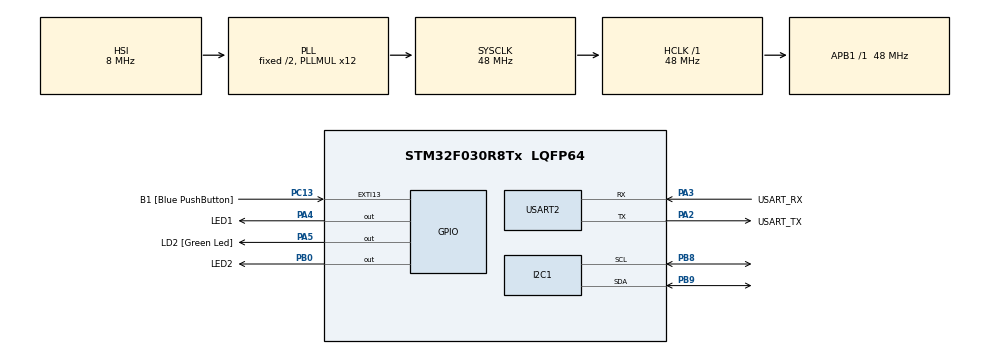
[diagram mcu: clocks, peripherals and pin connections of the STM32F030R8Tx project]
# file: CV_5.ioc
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Dma.Request0=USART2_RX
Dma.USART2_RX.0.Direction=DMA_PERIPH_TO_MEMORY
Dma.USART2_RX.0.Instance=DMA1_Channel5
Dma.USART2_RX.0.MemDataAlignment=DMA_MDATAALIGN_BYTE
Dma.USART2_RX.0.MemInc=DMA_MINC_ENABLE
Dma.USART2_RX.0.Mode=DMA_CIRCULAR
Dma.USART2_RX.0.PeriphDataAlignment=DMA_PDATAALIGN_BYTE
Dma.USART2_RX.0.PeriphInc=DMA_PINC_DISABLE
Dma.USART2_RX.0.Priority=DMA_PRIORITY_LOW
Mcu.Family=STM32F0
Mcu.Name=STM32F030R8Tx
Mcu.Package=LQFP64
NVIC.DMA1_Channel4_5_IRQn=true\:0\:0\:false\:false\:true\:false\:true
PA13.GPIO_Label=TMS
PA13.Mode=Serial_Wire
PA13.Signal=SYS_SWDIO
PA14.GPIO_Label=TCK
PA14.Mode=Serial_Wire
PA14.Signal=SYS_SWCLK
PA2.GPIO_Label=USART_TX
PA2.GPIO_Mode=GPIO_MODE_AF_PP
PA2.GPIO_PuPd=GPIO_NOPULL
PA2.GPIO_Speed=GPIO_SPEED_FREQ_LOW
PA2.Mode=Asynchronous
PA2.Signal=USART2_TX
PA3.GPIO_Label=USART_RX
PA3.GPIO_Mode=GPIO_MODE_AF_PP
PA3.GPIO_PuPd=GPIO_NOPULL
PA3.GPIO_Speed=GPIO_SPEED_FREQ_LOW
PA3.Mode=Asynchronous
PA3.Signal=USART2_RX
PA4.GPIO_Label=LED1
PA4.Signal=GPIO_Output
PA5.GPIO_Label=LD2 [Green Led]
PA5.GPIO_Mode=GPIO_MODE_OUTPUT_PP
PA5.GPIO_PuPd=GPIO_NOPULL
PA5.GPIO_Speed=GPIO_SPEED_FREQ_LOW
PA5.Signal=GPIO_Output
PB0.GPIO_Label=LED2
PB0.Signal=GPIO_Output
PB8.Mode=I2C
PB8.Signal=I2C1_SCL
PB9.Mode=I2C
PB9.Signal=I2C1_SDA
PC13.GPIO_Label=B1 [Blue PushButton]
PC13.GPIO_ModeDefaultEXTI=GPIO_MODE_IT_FALLING
PC13.Signal=GPXTI13
PC14-OSC32_IN.Mode=LSE-External-Oscillator
PC14-OSC32_IN.Signal=RCC_OSC32_IN
PC15-OSC32_OUT.Mode=LSE-External-Oscillator
PC15-OSC32_OUT.Signal=RCC_OSC32_OUT
PF0-OSC_IN.Mode=HSE-External-Clock-Source
PF0-OSC_IN.Signal=RCC_OSC_IN
PF1-OSC_OUT.Signal=RCC_OSC_OUT
ProjectManager.HeapSize=0x200
ProjectManager.StackSize=0x400
ProjectManager.TargetToolchain=STM32CubeIDE
RCC.AHBFreq_Value=48000000
RCC.APB1Freq_Value=48000000
RCC.APB1TimFreq_Value=48000000
RCC.HCLKFreq_Value=48000000
RCC.PLLMUL=RCC_PLL_MUL12
RCC.SYSCLKFreq_VALUE=48000000
RCC.SYSCLKSource=RCC_SYSCLKSOURCE_PLLCLK
USART2.VirtualMode-Asynchronous=VM_ASYNC
board=NUCLEO-F030R8

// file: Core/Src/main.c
/* USER CODE BEGIN Header */
/**
 ******************************************************************************
 * @file           : main.c
 * @brief          : Main program body
 ******************************************************************************
 * @attention
 *
 * <h2><center>&copy; Copyright (c) 2021 STMicroelectronics.
 * All rights reserved.</center></h2>
 *
 * This software component is licensed by ST under BSD 3-Clause license,
 * the "License"; You may not use this file except in compliance with the
 * License. You may obtain a copy of the License at:
 *                        opensource.org/licenses/BSD-3-Clause
 *
 ******************************************************************************
 */
/* USER CODE END Header */
#include "main.h"

/* USER CODE BEGIN Includes */
#include <stdio.h>
#include <string.h>
#include <stdlib.h>
/* USER CODE END Includes */

/* USER CODE BEGIN PTD */
#define RX_BUFFER_LEN 64
#define uart_rx_write_ptr (RX_BUFFER_LEN - hdma_usart2_rx.Instance->CNDTR)
#define CMD_BUFFER_LEN 256
#define EEPROM_ADDR 0xA0
static uint8_t uart_rx_buf[RX_BUFFER_LEN];
static volatile uint16_t uart_rx_read_ptr = 0;
int atoi(const char *str);

/* USER CODE END PTD */

I2C_HandleTypeDef hi2c1;

UART_HandleTypeDef huart2;
DMA_HandleTypeDef hdma_usart2_rx;

void SystemClock_Config(void);
static void MX_GPIO_Init(void);
static void MX_DMA_Init(void);
static void MX_USART2_UART_Init(void);
static void MX_I2C1_Init(void);

/* USER CODE BEGIN 0 */

int _write(int file, char const *buf, int n)
{
 /* stdout redirection to UART2 */
 HAL_UART_Transmit(&huart2, (uint8_t*)(buf), n, HAL_MAX_DELAY);
 return n;
}

static void uart_process_command(char *cmd)
{
	//printf("prijato: '%s'\n", cmd);

	char *token;
	token = strtok(cmd, " ");
	uint8_t value;
	uint16_t addr;

	if (strcasecmp(token, "HELLO") == 0) {
		printf("Komunikace OK\n");
	}
	else if (strcasecmp(token, "LED1") == 0) {
		token = strtok(NULL, " ");
		if (strcasecmp(token, "ON") == 0)
		{
			HAL_GPIO_WritePin(GPIOA,GPIO_PIN_4,GPIO_PIN_SET);
			printf("test_led1\n");
		}

		else if (strcasecmp(token, "OFF")==0)
		{
			HAL_GPIO_WritePin(GPIOA,GPIO_PIN_4,GPIO_PIN_RESET);
		}
		printf("OK\n");
	}
	else if (strcasecmp(token, "LED2") == 0) {
		token = strtok(NULL, " ");
		if (strcasecmp(token, "ON") == 0)
		{
			HAL_GPIO_WritePin(GPIOB,GPIO_PIN_0,GPIO_PIN_SET);
			printf("test_led2\n");
		}
		else if (strcasecmp(token, "OFF")==0)
		{
			HAL_GPIO_WritePin(GPIOB,GPIO_PIN_0,GPIO_PIN_RESET);
		}
		printf("OK\n");
	}
	else if (strcasecmp(token, "status") == 0)
	{
		uint8_t status_1 = 0;
		uint8_t status_2 = 0;

		status_1 = HAL_GPIO_ReadPin(GPIOA, GPIO_PIN_4);
		status_2 = HAL_GPIO_ReadPin(GPIOB, GPIO_PIN_0);

		printf("LED1: %i, LED2: %i \n", status_1, status_2);

	}

	else if (strcasecmp(token, "READ") == 0)
	{
		token = strtok(NULL, " ");
		addr=atoi(token);
		//printf(token);

		HAL_I2C_Mem_Read(&hi2c1, EEPROM_ADDR, addr, I2C_MEMADD_SIZE_16BIT, &value, 1, 1000);
		printf("adresa: 0x%02x = 0x%02x\n", addr, value);

	}

	else if (strcasecmp(token, "WRITE") == 0)
	{
		token = strtok(NULL, " ");
		addr=atoi(token);

		token = strtok(NULL, " ");
		value=atoi(token);

		HAL_I2C_Mem_Write(&hi2c1, EEPROM_ADDR, addr, I2C_MEMADD_SIZE_16BIT, &value, 1, 1000);
		while (HAL_I2C_IsDeviceReady(&hi2c1, EEPROM_ADDR, 300, 1000) == HAL_TIMEOUT) {}
		printf("adresa: 0x%02x = 0x%02x\n", addr, value);

	}

	else if (strcasecmp(token, "DUMP") == 0)
	{
		uint8_t value_16[16];
		addr  = 0;
		HAL_I2C_Mem_Read(&hi2c1, EEPROM_ADDR, addr, I2C_MEMADD_SIZE_16BIT, value_16, 16, 1000);
		for(uint16_t i = 0;i<16;i++)
		{
			printf("%02x ", value_16[i]);
		}
		printf("\n");
	}

}

static void uart_byte_available(uint8_t c)
{
	static uint16_t cnt;
	static char data[CMD_BUFFER_LEN];
	if (cnt < CMD_BUFFER_LEN && c >= 32 && c <= 126) data[cnt++] = c;
	if ((c == '\n' || c == '\r') && cnt > 0)
	{
		data[cnt] = '\0';
		uart_process_command(data);
		cnt = 0;
	}
}

/* USER CODE END 0 */

int main(void)
{
  /* USER CODE BEGIN 1 */
	//uint8_t c;

  /* USER CODE END 1 */

  /* MCU Configuration--------------------------------------------------------*/

  /* Reset of all peripherals, Initializes the Flash interface and the Systick. */
  HAL_Init();

  /* Configure the system clock */
  SystemClock_Config();

  /* Initialize all configured peripherals */
  MX_GPIO_Init();
  MX_DMA_Init();
  MX_USART2_UART_Init();
  MX_I2C1_Init();
  /* USER CODE BEGIN 2 */
	HAL_UART_Receive_DMA(&huart2, uart_rx_buf, RX_BUFFER_LEN);
  /* USER CODE END 2 */

  /* Infinite loop */
  /* USER CODE BEGIN WHILE */
	while (1)
	{
		//HAL_UART_Receive(&huart2, &c, 1, HAL_MAX_DELAY);
		//HAL_UART_Transmit(&huart2, &c, 1, HAL_MAX_DELAY);

		while (uart_rx_read_ptr != uart_rx_write_ptr)
		{
			uint8_t b = uart_rx_buf[uart_rx_read_ptr];
			if (++uart_rx_read_ptr >= RX_BUFFER_LEN) uart_rx_read_ptr = 0; // increase read pointer
			uart_byte_available(b); // process every received byte with the RX state machine
		}

    /* USER CODE END WHILE */

	}
}

void SystemClock_Config(void)
{
  RCC_OscInitTypeDef RCC_OscInitStruct = {0};
  RCC_ClkInitTypeDef RCC_ClkInitStruct = {0};
  RCC_PeriphCLKInitTypeDef PeriphClkInit = {0};

  /** Initializes the RCC Oscillators according to the specified parameters
  * in the RCC_OscInitTypeDef structure.
  */
  RCC_OscInitStruct.OscillatorType = RCC_OSCILLATORTYPE_HSI;
  RCC_OscInitStruct.HSIState = RCC_HSI_ON;
  RCC_OscInitStruct.HSICalibrationValue = RCC_HSICALIBRATION_DEFAULT;
  RCC_OscInitStruct.PLL.PLLState = RCC_PLL_ON;
  RCC_OscInitStruct.PLL.PLLSource = RCC_PLLSOURCE_HSI;
  RCC_OscInitStruct.PLL.PLLMUL = RCC_PLL_MUL12;
  RCC_OscInitStruct.PLL.PREDIV = RCC_PREDIV_DIV1;
  if (HAL_RCC_OscConfig(&RCC_OscInitStruct) != HAL_OK)
  {
    Error_Handler();
  }
  /** Initializes the CPU, AHB and APB buses clocks
  */
  RCC_ClkInitStruct.ClockType = RCC_CLOCKTYPE_HCLK|RCC_CLOCKTYPE_SYSCLK
                              |RCC_CLOCKTYPE_PCLK1;
  RCC_ClkInitStruct.SYSCLKSource = RCC_SYSCLKSOURCE_PLLCLK;
  RCC_ClkInitStruct.AHBCLKDivider = RCC_SYSCLK_DIV1;
  RCC_ClkInitStruct.APB1CLKDivider = RCC_HCLK_DIV1;

  if (HAL_RCC_ClockConfig(&RCC_ClkInitStruct, FLASH_LATENCY_1) != HAL_OK)
  {
    Error_Handler();
  }
  PeriphClkInit.PeriphClockSelection = RCC_PERIPHCLK_I2C1;
  PeriphClkInit.I2c1ClockSelection = RCC_I2C1CLKSOURCE_HSI;
  if (HAL_RCCEx_PeriphCLKConfig(&PeriphClkInit) != HAL_OK)
  {
    Error_Handler();
  }
}

static void MX_I2C1_Init(void)
{

  hi2c1.Instance = I2C1;
  hi2c1.Init.Timing = 0x2000090E;
  hi2c1.Init.OwnAddress1 = 0;
  hi2c1.Init.AddressingMode = I2C_ADDRESSINGMODE_7BIT;
  hi2c1.Init.DualAddressMode = I2C_DUALADDRESS_DISABLE;
  hi2c1.Init.OwnAddress2 = 0;
  hi2c1.Init.OwnAddress2Masks = I2C_OA2_NOMASK;
  hi2c1.Init.GeneralCallMode = I2C_GENERALCALL_DISABLE;
  hi2c1.Init.NoStretchMode = I2C_NOSTRETCH_DISABLE;
  if (HAL_I2C_Init(&hi2c1) != HAL_OK)
  {
    Error_Handler();
  }
  /** Configure Analogue filter
  */
  if (HAL_I2CEx_ConfigAnalogFilter(&hi2c1, I2C_ANALOGFILTER_ENABLE) != HAL_OK)
  {
    Error_Handler();
  }
  /** Configure Digital filter
  */
  if (HAL_I2CEx_ConfigDigitalFilter(&hi2c1, 0) != HAL_OK)
  {
    Error_Handler();
  }

}

static void MX_USART2_UART_Init(void)
{

  huart2.Instance = USART2;
  huart2.Init.BaudRate = 38400;
  huart2.Init.WordLength = UART_WORDLENGTH_8B;
  huart2.Init.StopBits = UART_STOPBITS_1;
  huart2.Init.Parity = UART_PARITY_NONE;
  huart2.Init.Mode = UART_MODE_TX_RX;
  huart2.Init.HwFlowCtl = UART_HWCONTROL_NONE;
  huart2.Init.OverSampling = UART_OVERSAMPLING_16;
  huart2.Init.OneBitSampling = UART_ONE_BIT_SAMPLE_DISABLE;
  huart2.AdvancedInit.AdvFeatureInit = UART_ADVFEATURE_NO_INIT;
  if (HAL_UART_Init(&huart2) != HAL_OK)
  {
    Error_Handler();
  }

}

static void MX_DMA_Init(void)
{

  /* DMA controller clock enable */
  __HAL_RCC_DMA1_CLK_ENABLE();

  /* DMA interrupt init */
  /* DMA1_Channel4_5_IRQn interrupt configuration */
  HAL_NVIC_SetPriority(DMA1_Channel4_5_IRQn, 0, 0);
  HAL_NVIC_EnableIRQ(DMA1_Channel4_5_IRQn);

}

static void MX_GPIO_Init(void)
{
  GPIO_InitTypeDef GPIO_InitStruct = {0};

  /* GPIO Ports Clock Enable */
  __HAL_RCC_GPIOC_CLK_ENABLE();
  __HAL_RCC_GPIOF_CLK_ENABLE();
  __HAL_RCC_GPIOA_CLK_ENABLE();
  __HAL_RCC_GPIOB_CLK_ENABLE();

  /*Configure GPIO pin Output Level */
  HAL_GPIO_WritePin(GPIOA, LED1_Pin|LD2_Pin, GPIO_PIN_RESET);

  /*Configure GPIO pin Output Level */
  HAL_GPIO_WritePin(LED2_GPIO_Port, LED2_Pin, GPIO_PIN_RESET);

  /*Configure GPIO pin : B1_Pin */
  GPIO_InitStruct.Pin = B1_Pin;
  GPIO_InitStruct.Mode = GPIO_MODE_IT_FALLING;
  GPIO_InitStruct.Pull = GPIO_NOPULL;
  HAL_GPIO_Init(B1_GPIO_Port, &GPIO_InitStruct);

  /*Configure GPIO pins : LED1_Pin LD2_Pin */
  GPIO_InitStruct.Pin = LED1_Pin|LD2_Pin;
  GPIO_InitStruct.Mode = GPIO_MODE_OUTPUT_PP;
  GPIO_InitStruct.Pull = GPIO_NOPULL;
  GPIO_InitStruct.Speed = GPIO_SPEED_FREQ_LOW;
  HAL_GPIO_Init(GPIOA, &GPIO_InitStruct);

  /*Configure GPIO pin : LED2_Pin */
  GPIO_InitStruct.Pin = LED2_Pin;
  GPIO_InitStruct.Mode = GPIO_MODE_OUTPUT_PP;
  GPIO_InitStruct.Pull = GPIO_NOPULL;
  GPIO_InitStruct.Speed = GPIO_SPEED_FREQ_LOW;
  HAL_GPIO_Init(LED2_GPIO_Port, &GPIO_InitStruct);

}

void Error_Handler(void)
{
	__disable_irq();
	while (1)
	{
	}
}

/************************ (C) COPYRIGHT STMicroelectronics *****END OF FILE****/
